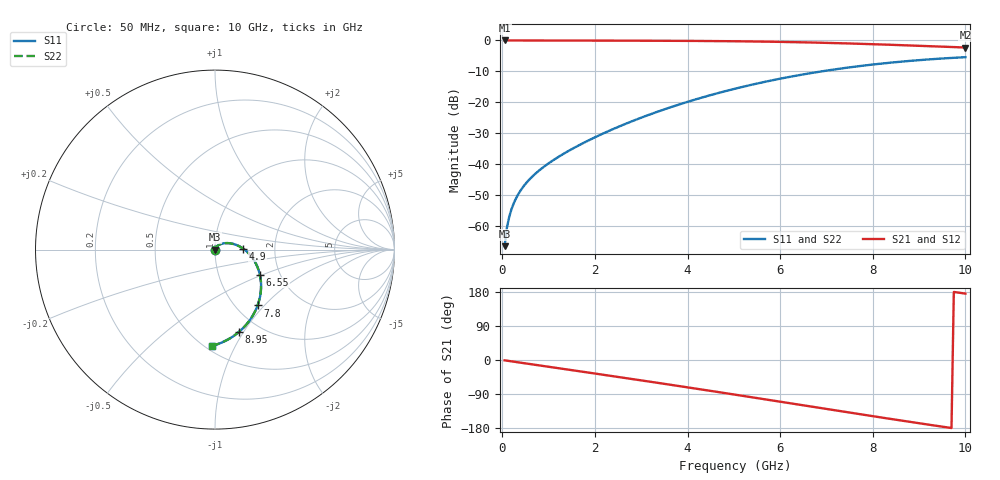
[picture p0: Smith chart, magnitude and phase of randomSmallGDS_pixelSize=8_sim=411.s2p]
! freq	dB(S11)	phase(S11)	dB(S12)	phase(S12)
!  dB(S21)	phase(S21)	dB(S22)	phase(S22)
!S-par simulation data
#  GHz  S  DB  R 50
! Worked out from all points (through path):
!   200 points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, 50 MHz to 10 GHz, reference 50 ohm
!   highest |S21| = 0.00 dB at 50 MHz (marker M1); lowest = -2.3 dB at 10 GHz (marker M2)
!   group delay of S21, straight-line fit = 51.8 ps
!   lowest |S11| = -66.6 dB at 50 MHz (marker M3), VSWR 1.00, Z = 50 + j0.0464 ohm
!   |S11| at or under -10 dB: start of sweep to 6.901 GHz
!   |S22| runs from -66.6 to -5.4 dB; largest |S21 - S12| = 0
!   S11 on the Smith chart (normalised r, x): 50 MHz: 1.00, +0.00; 4.9 GHz: 1.37, +0.02; 6.55 GHz: 1.58, -0.48; 7.8 GHz: 1.25, -0.92; 8.95 GHz: 0.81, -0.96; 10 GHz: 0.54, -0.81
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0.05  -66.63 84.1  -0.00 -0.9  -0.00 -0.9  -66.63 84.1
0.1  -60.63 85.6  -0.00 -1.8  -0.00 -1.8  -60.63 85.6
0.15  -57.10 85.6  -0.00 -2.7  -0.00 -2.7  -57.10 85.5
0.2  -54.59 85.0  -0.00 -3.6  -0.00 -3.6  -54.59 85.0
0.3  -51.03 83.6  -0.00 -5.4  -0.00 -5.4  -51.03 83.6
0.45  -47.42 81.2  -0.01 -8.1  -0.01 -8.1  -47.42 81.2
0.65  -44.05 78.0  -0.01 -11.6  -0.01 -11.6  -44.05 77.9
0.95  -40.33 73.1  -0.02 -17.0  -0.02 -17.0  -40.33 73.1
1.3  -36.91 67.4  -0.03 -23.2  -0.03 -23.2  -36.92 67.4
1.75  -33.22 59.9  -0.04 -31.2  -0.04 -31.2  -33.22 59.8
2.55  -27.70 45.7  -0.06 -45.6  -0.06 -45.6  -27.70 45.6
3.4  -22.83 30.2  -0.10 -61.1  -0.10 -61.1  -22.83 30.1
4.15  -19.20 16.2  -0.15 -74.9  -0.15 -74.9  -19.20 16.2
4.9  -16.10 2.2  -0.24 -89.0  -0.24 -89.0  -16.10 2.1
5.05  -15.54 -0.7  -0.26 -91.9  -0.26 -91.9  -15.54 -0.7
5.8  -12.99 -14.9  -0.41 -106.2  -0.41 -106.2  -12.99 -15.0
6.55  -10.86 -29.2  -0.62 -120.6  -0.62 -120.6  -10.86 -29.3
6.7  -10.48 -32.0  -0.67 -123.5  -0.67 -123.5  -10.48 -32.1
7.8  -8.15 -52.7  -1.11 -144.5  -1.11 -144.5  -8.15 -52.8
8.35  -7.24 -62.8  -1.38 -154.9  -1.38 -154.9  -7.24 -62.8
8.95  -6.43 -73.5  -1.70 -166.0  -1.70 -166.0  -6.43 -73.6
10  -5.42 -91.6  -2.29 175.2  -2.29 175.2  -5.42 -91.7
